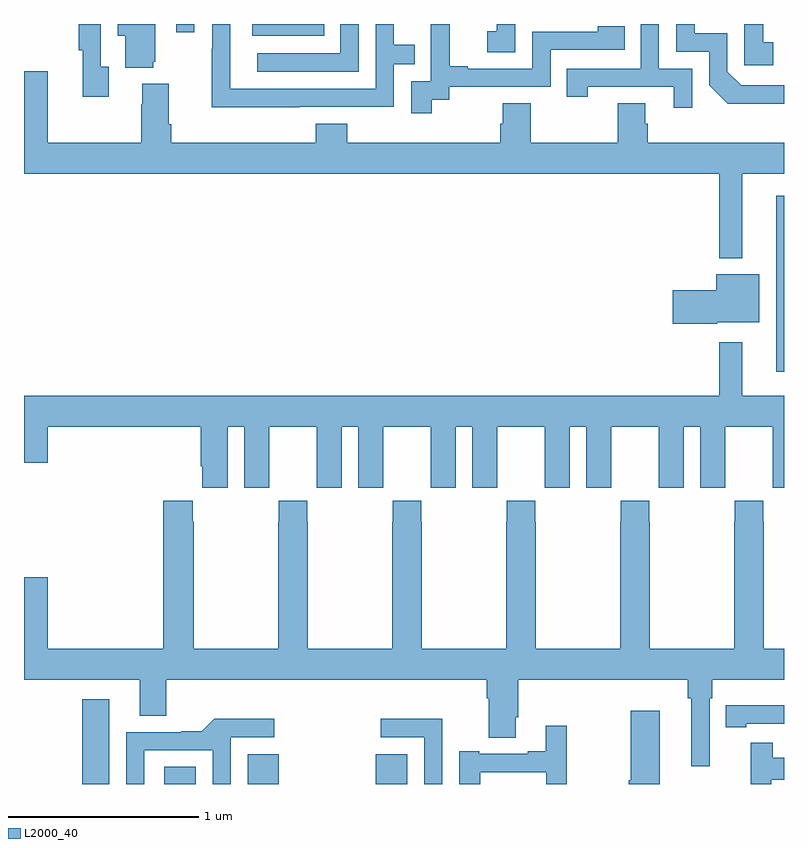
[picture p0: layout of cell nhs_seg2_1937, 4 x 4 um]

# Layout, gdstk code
import gdstk
lib = gdstk.Library(unit=1e-6, precision=1e-09)
def R(c, l, rs):  # rectangles x0, y0, x1, y1
    for r in rs: c.add(gdstk.rectangle(r[:2], r[2:], *l))
def P(c, l, *ps):  # polygons
    for p in ps: c.add(gdstk.Polygon(p, *l))
L2000_40 = (2000, 40)

nhs_seg2_1937 = lib.new_cell('nhs_seg2_1937')
R(nhs_seg2_1937, L2000_40, [(213.307,601.8,213.448,602.245), (213.737,601.8,213.904,601.892), (214.178,601.8,214.342,601.957), (214.85,601.8,215.017,601.957), (216.959,603.969,217,604.897), (214.202,605.738,214.58,605.8), (213.801,605.757,213.897,605.8)])
P(nhs_seg2_1937, L2000_40, [(216.516,605.565),(216.342,605.565),(216.342,605.8),(216.246,605.8),(216.246,605.565),(215.857,605.565),(215.857,605.418),(215.968,605.418),(215.968,605.469),(216.419,605.469),(216.419,605.358),(216.516,605.358)],
  [(217,605.478),(216.774,605.478),(216.702,605.55),(216.702,605.751),(216.529,605.751),(216.529,605.8),(216.432,605.8),(216.432,605.655),(216.606,605.655),(216.606,605.478),(216.704,605.381),(217,605.381)],
  [(213.445,605.574),(213.405,605.574),(213.405,605.8),(213.289,605.8),(213.289,605.662),(213.308,605.662),(213.308,605.418),(213.445,605.418)],
  [(214.761,605.8),(214.665,605.8),(214.665,605.646),(214.227,605.646),(214.227,605.55),(214.761,605.55)],
  [(216.943,605.703),(216.89,605.703),(216.89,605.8),(216.792,605.8),(216.792,605.583),(216.943,605.583)],
  [(214.451,605.364),(214.947,605.364),(214.947,605.589),(215.057,605.589),(215.057,605.69),(214.947,605.69),(214.947,605.8),(214.851,605.8),(214.851,605.46),(214.086,605.46),(214.086,605.8),(213.99,605.8),(213.99,605.669),(213.988,605.669),(213.988,605.363),(214.451,605.363)],
  [(215.586,605.8),(215.488,605.8),(215.488,605.761),(215.439,605.761),(215.439,605.652),(215.586,605.652)],
  [(215.146,605.401),(215.238,605.401),(215.238,605.469),(215.772,605.469),(215.772,605.664),(216.161,605.664),(216.161,605.787),(216.021,605.787),(216.021,605.76),(215.676,605.76),(215.676,605.565),(215.335,605.565),(215.335,605.578),(215.24,605.578),(215.24,605.8),(215.141,605.8),(215.141,605.729),(215.142,605.729),(215.142,605.499),(215.037,605.499),(215.037,605.331),(215.146,605.331)],
  [(213.68,605.601),(213.691,605.601),(213.691,605.8),(213.494,605.8),(213.494,605.738),(213.533,605.738),(213.533,605.57),(213.68,605.57)],
  [(216.781,605.012),(217,605.012),(217,605.176),(216.284,605.176),(216.284,605.274),(216.271,605.274),(216.271,605.384),(216.124,605.384),(216.124,605.176),(215.667,605.176),(215.667,605.384),(215.519,605.384),(215.519,605.274),(215.507,605.274),(215.507,605.176),(214.7,605.176),(214.7,605.275),(214.535,605.275),(214.535,605.176),(213.776,605.176),(213.776,605.272),(213.763,605.272),(213.763,605.485),(213.623,605.485),(213.623,605.378),(213.616,605.378),(213.616,605.176),(213.124,605.176),(213.124,605.551),(213,605.551),(213,605.012),(216.66,605.012),(216.66,604.568),(216.781,604.568)],
  [(216.648,604.229),(216.871,604.229),(216.871,604.483),(216.644,604.483),(216.644,604.4),(216.414,604.4),(216.414,604.222),(216.648,604.222)],
  [(214.072,603.68),(214.16,603.68),(214.16,603.36),(214.29,603.36),(214.29,603.472),(214.291,603.472),(214.291,603.68),(214.541,603.68),(214.541,603.472),(214.542,603.472),(214.542,603.36),(214.672,603.36),(214.672,603.68),(214.76,603.68),(214.76,603.36),(214.89,603.36),(214.89,603.472),(214.891,603.472),(214.891,603.68),(215.141,603.68),(215.141,603.472),(215.142,603.472),(215.142,603.36),(215.272,603.36),(215.272,603.68),(215.36,603.68),(215.36,603.36),(215.49,603.36),(215.49,603.472),(215.491,603.472),(215.491,603.68),(215.741,603.68),(215.741,603.472),(215.742,603.472),(215.742,603.36),(215.872,603.36),(215.872,603.68),(215.96,603.68),(215.96,603.36),(216.09,603.36),(216.09,603.472),(216.091,603.472),(216.091,603.68),(216.341,603.68),(216.341,603.472),(216.342,603.472),(216.342,603.36),(216.472,603.36),(216.472,603.68),(216.56,603.68),(216.56,603.36),(216.69,603.36),(216.69,603.472),(216.691,603.472),(216.691,603.68),(216.941,603.68),(216.941,603.472),(216.942,603.472),(216.942,603.36),(217,603.36),(217,603.844),(216.781,603.844),(216.781,604.126),(216.66,604.126),(216.66,603.844),(213,603.844),(213,603.492),(213.124,603.492),(213.124,603.68),(213.929,603.68),(213.929,603.472),(213.938,603.472),(213.938,603.36),(214.072,603.36)],
  [(216.609,602.252),(216.623,602.252),(216.623,602.348),(217,602.348),(217,602.512),(216.894,602.512),(216.894,603.179),(216.891,603.179),(216.891,603.292),(216.741,603.292),(216.741,603.179),(216.739,603.179),(216.739,602.512),(216.294,602.512),(216.294,603.179),(216.291,603.179),(216.291,603.292),(216.141,603.292),(216.141,603.179),(216.139,603.179),(216.139,602.512),(215.694,602.512),(215.694,603.179),(215.691,603.179),(215.691,603.292),(215.541,603.292),(215.541,603.179),(215.539,603.179),(215.539,602.512),(215.094,602.512),(215.094,603.179),(215.091,603.179),(215.091,603.292),(214.941,603.292),(214.941,603.179),(214.939,603.179),(214.939,602.512),(214.494,602.512),(214.494,603.179),(214.491,603.179),(214.491,603.292),(214.341,603.292),(214.341,603.179),(214.339,603.179),(214.339,602.512),(213.894,602.512),(213.894,603.179),(213.887,603.179),(213.887,603.292),(213.734,603.292),(213.734,602.512),(213.124,602.512),(213.124,602.887),(213,602.887),(213,602.348),(213.608,602.348),(213.608,602.158),(213.748,602.158),(213.748,602.348),(215.435,602.348),(215.435,602.252),(215.447,602.252),(215.447,602.044),(215.587,602.044),(215.587,602.152),(215.6,602.152),(215.6,602.348),(216.493,602.348),(216.493,602.252),(216.512,602.252),(216.512,601.893),(216.609,601.893)],
  [(216.802,602.118),(217,602.118),(217,602.215),(216.802,602.215),(216.802,602.214),(216.694,602.214),(216.694,602.098),(216.802,602.098)],
  [(216.346,602.185),(216.193,602.185),(216.193,601.821),(216.182,601.821),(216.182,601.8),(216.346,601.8)],
  [(213.633,601.977),(213.993,601.977),(213.993,601.8),(214.089,601.8),(214.089,602.046),(214.318,602.046),(214.318,602.144),(214.001,602.144),(213.935,602.078),(213.827,602.078),(213.827,602.073),(213.537,602.073),(213.537,601.8),(213.633,601.8)],
  [(215.202,602.144),(214.878,602.144),(214.878,602.046),(215.106,602.046),(215.106,601.8),(215.202,601.8)],
  [(215.401,601.863),(215.748,601.863),(215.748,601.8),(215.857,601.8),(215.857,602.107),(215.747,602.107),(215.747,601.972),(215.651,601.972),(215.651,601.959),(215.395,601.959),(215.395,601.972),(215.291,601.972),(215.291,601.8),(215.401,601.8)],
  [(216.934,601.822),(217,601.822),(217,601.938),(216.941,601.938),(216.941,602.017),(216.824,602.017),(216.824,601.8),(216.934,601.8)])

lib.write_gds('nhs_seg2_1937.gds')
